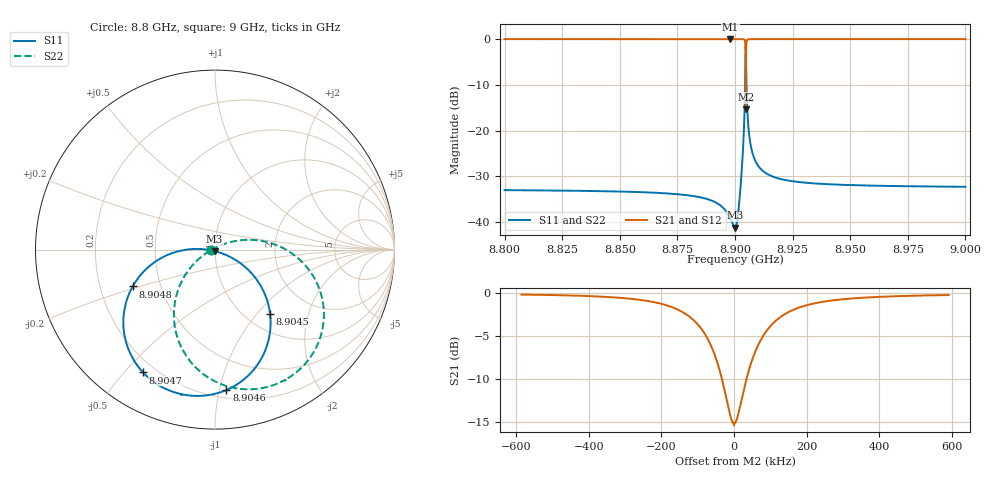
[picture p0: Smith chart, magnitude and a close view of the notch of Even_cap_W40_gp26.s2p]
! Sonnet Data File
! From: emgraph Version : 16.52
! From Project: Resonator2_cp_varyW
! Data is De-embedded
! Data File Written: 10/07/2017 09:25:24
!< HDATE 10/06/2017 17:18:21
!< MDATE 10/06/2017 17:18:21
!< PARAMS
!< gap = 26.0
!< Length = 400.0
!< Pwid1 = 2000.0
!< Pwid2 = 2000.0
!< Air_gap = 24.0
!< Width = 40.0
!< END PARAMS
# GHZ S MA R 51.80000
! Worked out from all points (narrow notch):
!   1596 points, 8.8 GHz to 9 GHz, reference 51.8 ohm
!   highest |S21| = 0.00 dB at 8.898 GHz (marker M1); lowest = -15.4 dB at 8.9047 GHz (marker M2)
!   notch at M2: 15.4 dB deep, 99.3 kHz wide at half that depth
!   lowest |S11| = -41.2 dB at 8.9 GHz (marker M3), VSWR 1.02, Z = 51.6 - j0.866 ohm
!   |S11| at or under -10 dB: start of sweep to 8.9044 GHz; 8.905 GHz to end of sweep
!   |S22| runs from -41.4 to -1.6 dB; largest |S21 - S12| = 0
!   S11 on the Smith chart (normalised r, x): 8.8 GHz: 0.96, -0.01; 8.9045 GHz: 1.27, -1.18; 8.9046 GHz: 0.26, -1.05; 8.9047 GHz: 0.15, -0.56; 8.9048 GHz: 0.34, -0.19; 9 GHz: 0.95, -0.01
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8.8  0.02231 -168.8  0.9997 -80.7  0.9997 -80.7  0.02231 -172.5
!< P1 F=8.8 Eeff=(6.44313487 -2.9703e-5) Z0=(50.4821399 1.16465e-4) R=0.0 C=0.0
!< P2 F=8.8 Eeff=(6.44313487 -2.9703e-5) Z0=(50.4821399 1.16465e-4) R=0.0 C=0.0
8.8334  0.02191 -168.7  0.9998 -81.0  0.9998 -81.0  0.02191 -173.3
8.8668  0.02079 -167.7  0.9998 -81.4  0.9998 -81.4  0.02079 -175.0
8.889385  0.01731 -162.8  0.9998 -81.8  0.9998 -81.8  0.01731 179.2
8.898  0.01084 -140.4  0.9999 -82.4  0.9999 -82.4  0.01077 156.0
8.9  0.008668 -104.5  0.9999 -82.8  0.9999 -82.8  0.008484 119.0
8.901385  0.01246 -58.7  0.9997 -83.3  0.9997 -83.3  0.0122 70.9
8.9028  0.03307 -31.4  0.9989 -84.6  0.9989 -84.6  0.03277 40.2
8.904  0.1254 -26.6  0.9877 -90.0  0.9877 -90.0  0.1248 22.6
8.904335  0.2578 -33.9  0.9499 -97.7  0.9499 -97.7  0.2567 11.2
8.90451  0.473 -49.5  0.824 -110.7  0.824 -110.7  0.4712 -6.4
8.904637  0.785 -85.4  0.3551 -126.7  0.3551 -126.7  0.7822 -43.6
8.904676  0.8315 -103.0  0.1701 -85.2  0.1701 -85.2  0.8286 -61.6
8.904714  0.7932 -120.4  0.3359 -39.1  0.3359 -39.1  0.7903 -79.3
8.904765  0.6763 -138.8  0.5996 -41.7  0.5996 -41.7  0.674 -98.2
8.904843  0.5025 -155.9  0.8063 -52.9  0.8063 -52.9  0.5009 -116.0
8.9052  0.2078 -177.2  0.9709 -70.8  0.9709 -70.8  0.2072 -140.4
8.906019  0.09636 177.7  0.9942 -77.3  0.9942 -77.3  0.09615 -151.0
8.909238  0.04442 -179.8  0.9989 -80.3  0.9989 -80.3  0.04438 -160.6
8.933334  0.02653 -173.5  0.9996 -81.6  0.9996 -81.6  0.02653 -169.8
8.9668  0.02477 -172.5  0.9997 -82.0  0.9997 -82.0  0.02477 -171.6
9  0.02425 -172.3  0.9997 -82.4  0.9997 -82.4  0.02425 -172.4
